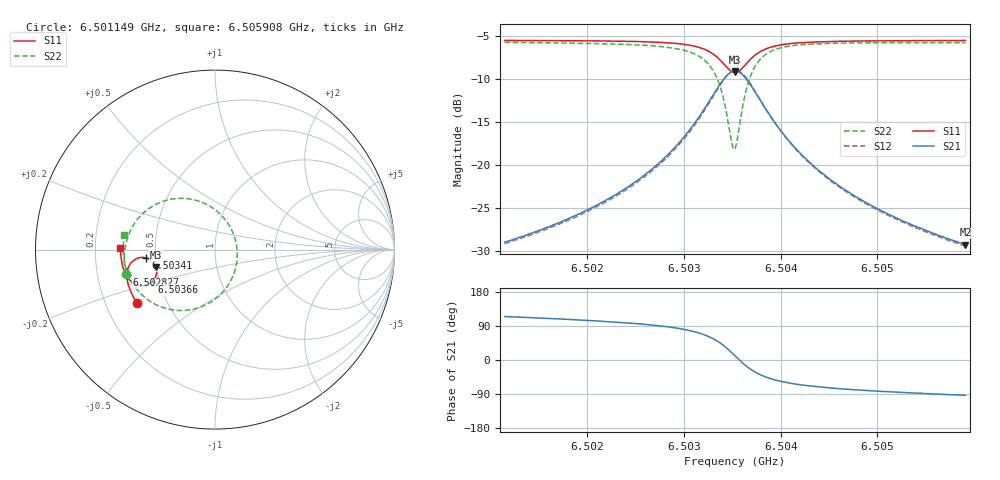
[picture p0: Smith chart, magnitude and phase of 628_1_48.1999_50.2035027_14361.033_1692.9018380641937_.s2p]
#  HZ  S  RI  R  50.00
! Rohde & Schwarz Vector Network Analyzer
! Rohde-Schwarz,ZNB20-2Port,1311601062101988,3.16
! Created: UTC 3/20/2024, 12:04:11 PM
! freq[Hz]  re:S11  im:S11  re:S21  im:S21  re:S12  im:S12  re:S22  im:S22
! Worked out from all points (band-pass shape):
!   401 points, 6.501149 GHz to 6.505908 GHz, reference 50 ohm
!   highest |S21| = -9.12 dB at 6.503529 GHz (marker M1); lowest = -29.3 dB at 6.505908 GHz (marker M2)
!   |S21| within 3 dB of the highest: 6.503291 GHz to 6.503767 GHz (476.1 kHz wide, 0.00732 % of centre)
!   lowest |S11| = -9.3 dB at 6.503529 GHz (marker M3), VSWR 2.04, Z = 24.9 - j5.62 ohm
!   |S11| at or under -10 dB: nowhere
!   |S22| runs from -18.2 to -5.8 dB; largest |S21 - S12| = 0.013
!   S11 on the Smith chart (normalised r, x): 6.501149 GHz: 0.34, -0.28; 6.502827 GHz: 0.33, -0.13; 6.50341 GHz: 0.44, -0.05; 6.50366 GHz: 0.46, -0.19; 6.505908 GHz: 0.31, +0.01
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6.5011489e9  -0.4356 -0.2963  -0.0148 0.0323  -0.013 0.0322  -0.4946 -0.1377
6.5019461e9  -0.4686 -0.2356  -0.0138 0.0508  -0.0113 0.0503  -0.5048 -0.0497
6.5023745e9  -0.4829 -0.1964  -0.0107 0.0705  -0.00754 0.0693  -0.4999 0.014
6.5027433e9  -0.4908 -0.1538  -0.00072 0.1021  0.0031 0.0996  -0.4776 0.0924
6.5028266e9  -0.4911 -0.1422  0.00435 0.1127  0.00812 0.1098  -0.4668 0.1153
6.5030289e9  -0.486 -0.1081  0.0277 0.1485  0.0316 0.1438  -0.4182 0.1849
6.5031717e9  -0.471 -0.0781  0.0664 0.1828  0.0694 0.1768  -0.3433 0.2446
6.5033145e9  -0.4318 -0.0483  0.1506 0.212  0.1515 0.2056  -0.1896 0.2858
6.5034097e9  -0.3837 -0.0462  0.2448 0.1945  0.2452 0.1898  -0.0268 0.2409
6.503493e9  -0.3396 -0.0767  0.3253 0.1174  0.3282 0.1131  0.1021 0.0888
6.5035286e9  -0.3283 -0.0997  0.3433 0.0671  0.3475 0.0615  0.1234 -0.00595
6.5035524e9  -0.3252 -0.1165  0.3467 0.0313  0.3514 0.0244  0.1211 -0.0715
6.5035881e9  -0.3275 -0.1415  0.3392 -0.0204  0.3431 -0.0299  0.0928 -0.1635
6.5036595e9  -0.3505 -0.1799  0.2908 -0.0991  0.2911 -0.1114  -0.0215 -0.2911
6.5037071e9  -0.3718 -0.1941  0.2493 -0.1287  0.2465 -0.1409  -0.1082 -0.3289
6.5037666e9  -0.3976 -0.2011  0.2007 -0.1456  0.1953 -0.1562  -0.2039 -0.3393
6.5039213e9  -0.4462 -0.1918  0.114 -0.1414  0.1066 -0.147  -0.3599 -0.2889
6.5040879e9  -0.4747 -0.1704  0.0671 -0.1195  0.0604 -0.1222  -0.4358 -0.2206
6.5043259e9  -0.496 -0.1405  0.0354 -0.0934  0.0305 -0.094  -0.4811 -0.1455
6.5046828e9  -0.5118 -0.1018  0.0157 -0.0685  0.0122 -0.0682  -0.5044 -0.0691
6.5051231e9  -0.5211 -0.0601  0.0054 -0.0509  0.00305 -0.0502  -0.5111 -0.00334
6.5059084e9  -0.5266 0.00722  -0.00179 -0.0342  -0.00334 -0.0334  -0.5043 0.0831
